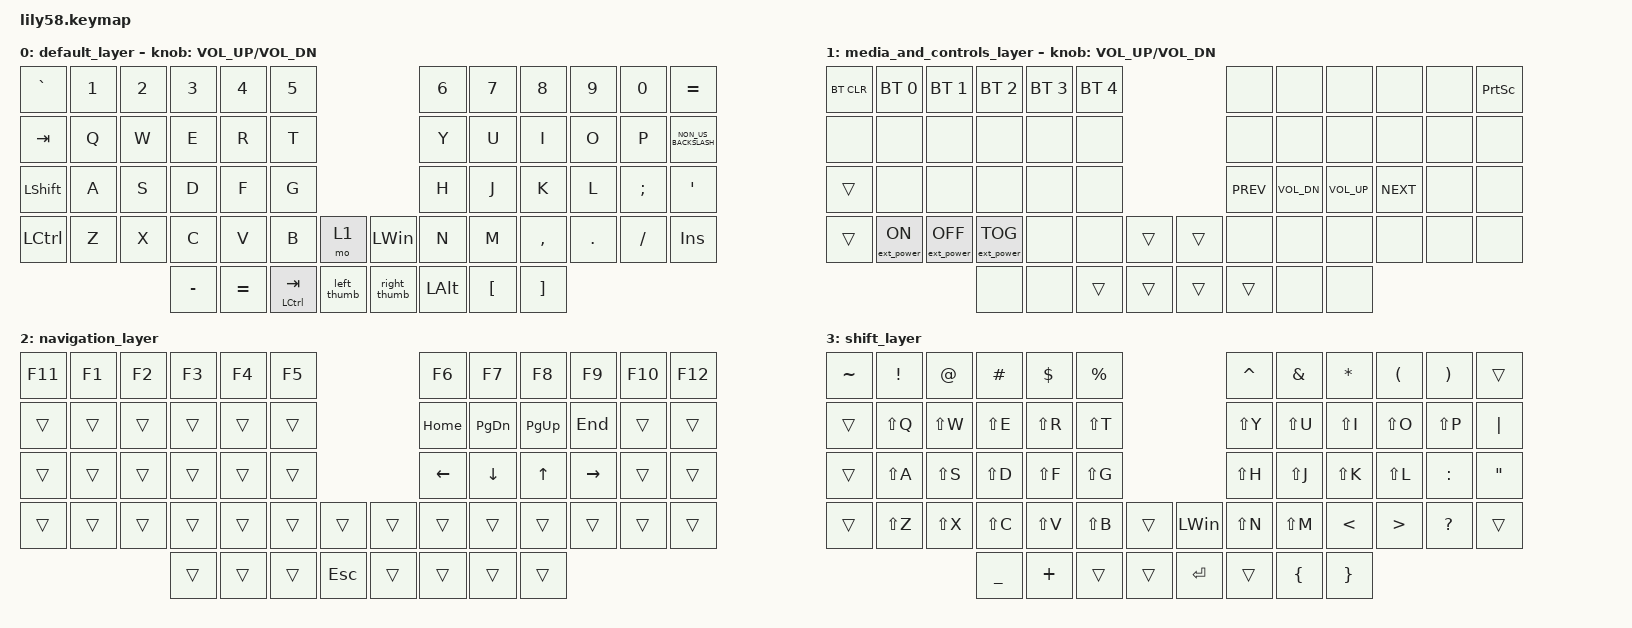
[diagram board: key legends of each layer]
/*
 * Copyright (c) 2020 The ZMK Contributors
 *
 * SPDX-License-Identifier: MIT
 */

#include <behaviors.dtsi>
#include <dt-bindings/zmk/bt.h>
#include <dt-bindings/zmk/ext_power.h>
#include <dt-bindings/zmk/keys.h>

/ {
    combos {
        compatible = "zmk,combos";

        combo_esc {
            timeout-ms = <50>;
            key-positions = <0 1>;
            bindings = <&kp ESC>;
        };
    };

    behaviors {
        ss_hs_modmorph: ss_hs_modmorph {
            compatible = "zmk,behavior-mod-morph";
            label = "SS_HS_MODMORPH";
            bindings = <&kp M>, <&kp RIGHT_BRACKET>;

            #binding-cells = <0>;
            mods = <(MOD_LSFT|MOD_RSFT)>;
        };

        right_thumb: right_thumb {
            compatible = "zmk,behavior-tap-dance";
            label = "RIGHT_THUMB";
            #binding-cells = <0>;
            tapping-term-ms = <100>;
            bindings = <&lt 2 BACKSPACE>, <&kp BACKSPACE>;
        };

        hrm: hrm {
            compatible = "zmk,behavior-hold-tap";
            #binding-cells = <2>;
            flavor = "tap-preferred";
            tapping-term-ms = <200>;
            quick-tap-ms = <200>;
            require-prior-idle-ms = <125>;
            bindings = <&kp>, <&kp>;
        };

        left_thumb: left_thumb {
            compatible = "zmk,behavior-tap-dance";
            label = "LEFT_THUMB";
            #binding-cells = <0>;
            tapping-term-ms = <100>;
            bindings = <&lt 3 SPACE>, <&kp SPACE>;
        };
    };

    keymap {
        compatible = "zmk,keymap";

        default_layer {
            // ------------------------------------------------------------------------------------------------------------
            // |  ESC  |  1  |  2  |  3   |  4   |  5   |                   |  6   |  7    |  8    |  9   |   0   |   `   |
            // |  TAB  |  Q  |  W  |  E   |  R   |  T   |                   |  Y   |  U    |  I    |  O   |   P   |   -   |
            // |  CTRL |  A  |  S  |  D   |  F   |  G   |                   |  H   |  J    |  K    |  L   |   ;   |   '   |
            // | SHIFT |  Z  |  X  |  C   |  V   |  B   |   "["  |  |  "]"  |  N   |  M    |  ,    |  .   |   /   | SHIFT |
            //                     | ALT  | GUI  | LOWER|  SPACE |  | ENTER | RAISE| BSPC  | GUI   |

            bindings = <
&kp GRAVE   &kp N1  &kp N2  &kp N3     &kp N4     &kp N5                                      &kp N6        &kp N7            &kp N8             &kp N9   &kp N0    &kp EQUAL
&kp TAB     &kp Q   &kp W   &kp E      &kp R      &kp T                                       &kp Y         &kp U             &kp I              &kp O    &kp P     &kp NON_US_BACKSLASH
&kp LSHIFT  &kp A   &kp S   &kp D      &kp F      &kp G                                       &kp H         &kp J             &kp K              &kp L    &kp SEMI  &kp SQT
&kp LCTRL   &kp Z   &kp X   &kp C      &kp V      &kp B          &mo 1          &kp LEFT_WIN  &kp N         &kp M             &kp COMMA          &kp DOT  &kp FSLH  &kp INS
                            &kp MINUS  &kp EQUAL  &mt LCTRL TAB  &left_thumb    &right_thumb  &kp LEFT_ALT  &kp LEFT_BRACKET  &kp RIGHT_BRACKET
            >;

            sensor-bindings = <&inc_dec_kp C_VOL_UP C_VOL_DN>;
        };

        media_and_controls_layer {
            // ------------------------------------------------------------------------------------------------------------
            // | BTCLR | BT1 | BT2 |  BT3 |  BT4 |  BT5 |                   |      |       |       |      |       |       |
            // |  F1   |  F2 |  F3 |  F4  |  F5  |  F6  |                   |  F7  |  F8   |  F9   |  F10 |  F11  |  F12  |
            // |   `   |  !  |  @  |  #   |  $   |  %   |                   |  ^   |  &    |  *    |  (   |   )   |   ~   |
            // |       |     |     |      |      |      |        |  |       |      |  _    |  +    |  {   |   }   |  "|"  |
            //                     |      |      |      |        |  |       |      |       |       |

            bindings = <
&bt BT_CLR  &bt BT_SEL 0      &bt BT_SEL 1       &bt BT_SEL 2       &bt BT_SEL 3  &bt BT_SEL 4                    &none       &none         &none            &none       &none  &kp PRINTSCREEN
&none       &none             &none              &none              &none         &none                           &none       &none         &none            &none       &none  &none
&trans      &none             &none              &none              &none         &none                           &kp C_PREV  &kp C_VOL_DN  &kp C_VOLUME_UP  &kp C_NEXT  &none  &none
&trans      &ext_power EP_ON  &ext_power EP_OFF  &ext_power EP_TOG  &none         &none         &trans    &trans  &none       &none         &none            &none       &none  &none
                                                 &none              &none         &trans        &trans    &trans  &trans      &none         &none
            >;

            sensor-bindings = <&inc_dec_kp C_VOL_UP C_VOL_DN>;
        };

        navigation_layer {
            bindings = <
&kp F11  &kp F1  &kp F2  &kp F3  &kp F4  &kp F5                        &kp F6          &kp F7          &kp F8        &kp F9           &kp F10  &kp F12
&trans   &trans  &trans  &trans  &trans  &trans                        &kp HOME        &kp PAGE_DOWN   &kp PAGE_UP   &kp END          &trans   &trans
&trans   &trans  &trans  &trans  &trans  &trans                        &kp LEFT_ARROW  &kp DOWN_ARROW  &kp UP_ARROW  &kp RIGHT_ARROW  &trans   &trans
&trans   &trans  &trans  &trans  &trans  &trans  &trans        &trans  &trans          &trans          &trans        &trans           &trans   &trans
                         &trans  &trans  &trans  &kp ESCAPE    &trans  &trans          &trans          &trans
            >;
        };

        shift_layer {
            bindings = <
&kp TILDE  &kp EXCLAMATION  &kp AT_SIGN  &kp HASH        &kp DOLLAR  &kp PERCENT                          &kp CARET  &kp AMPERSAND   &kp ASTERISK     &kp LEFT_PARENTHESIS  &kp RIGHT_PARENTHESIS  &trans
&trans     &kp LS(Q)        &kp LS(W)    &kp LS(E)       &kp LS(R)   &kp LS(T)                            &kp LS(Y)  &kp LS(U)       &kp LS(I)        &kp LS(O)             &kp LS(P)              &kp PIPE
&trans     &kp LS(A)        &kp LS(S)    &kp LS(D)       &kp LS(F)   &kp LS(G)                            &kp LS(H)  &kp LS(J)       &kp LS(K)        &kp LS(L)             &kp COLON              &kp DOUBLE_QUOTES
&trans     &kp LS(Z)        &kp LS(X)    &kp LS(C)       &kp LS(V)   &kp LS(B)    &trans    &kp LEFT_WIN  &kp LS(N)  &kp LS(M)       &kp LESS_THAN    &kp GREATER_THAN      &kp QUESTION           &trans
                                         &kp UNDERSCORE  &kp PLUS    &trans       &trans    &kp ENTER     &trans     &kp LEFT_BRACE  &kp RIGHT_BRACE
            >;
        };
    };
};
